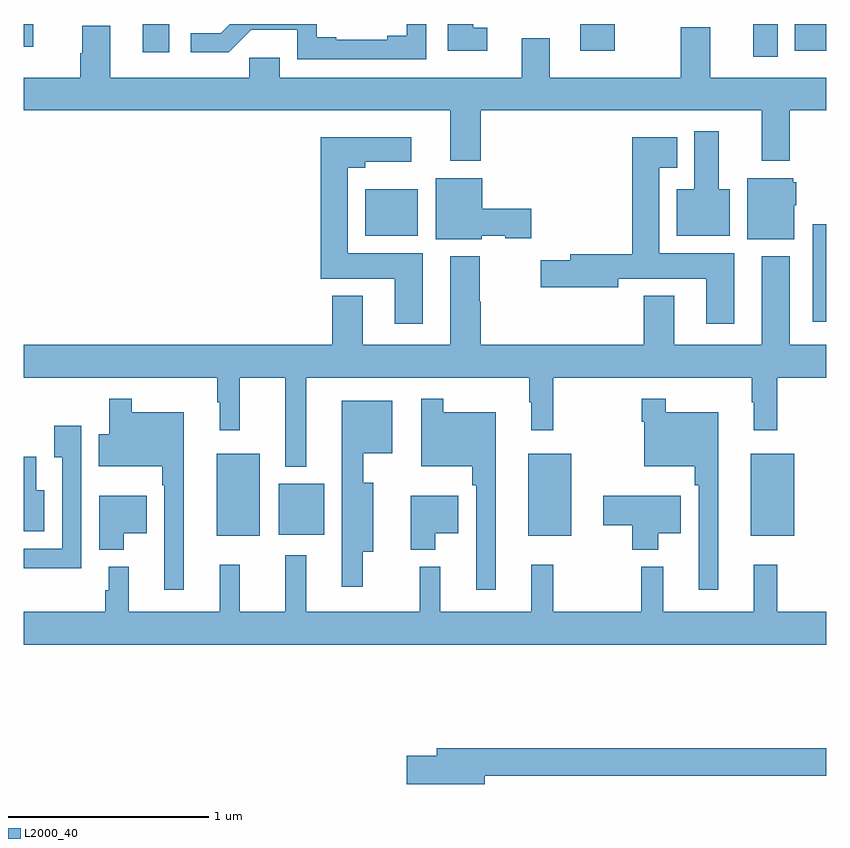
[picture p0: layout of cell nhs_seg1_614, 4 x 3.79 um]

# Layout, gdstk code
import gdstk
lib = gdstk.Library(unit=1e-6, precision=1e-09)
def R(c, l, rs):  # rectangles x0, y0, x1, y1
    for r in rs: c.add(gdstk.rectangle(r[:2], r[2:], *l))
def P(c, l, *ps):  # polygons
    for p in ps: c.add(gdstk.Polygon(p, *l))
L2000_40 = (2000, 40)

nhs_seg1_614 = lib.new_cell('nhs_seg1_614')
R(nhs_seg1_614, L2000_40, [(145.961,513.647,146.176,514.057), (147.515,513.647,147.73,514.057), (148.625,513.647,148.84,514.057), (146.27,513.653,146.497,513.907), (148.934,514.715,149,515.2), (146.702,515.144,146.965,515.374), (148.637,516.036,148.759,516.199), (145.592,516.057,145.726,516.199), (148.844,516.065,149,516.199), (147.774,516.066,147.946,516.199), (145,516.086,145.047,516.199)])
P(nhs_seg1_614, L2000_40, [(147.006,516.199),(146.909,516.199),(146.909,516.14),(146.813,516.14),(146.813,516.12),(146.557,516.12),(146.557,516.134),(146.46,516.134),(146.46,516.199),(146.026,516.199),(145.981,516.154),(145.833,516.154),(145.833,516.057),(146.022,516.057),(146.135,516.17),(146.364,516.17),(146.364,516.024),(147.006,516.024)],
  [(147.31,516.18),(147.241,516.18),(147.241,516.199),(147.113,516.199),(147.113,516.065),(147.31,516.065)],
  [(147.278,515.768),(148.679,515.768),(148.679,515.516),(148.819,515.516),(148.819,515.768),(149,515.768),(149,515.932),(148.423,515.932),(148.423,516.184),(148.276,516.184),(148.276,515.932),(147.622,515.932),(147.622,516.127),(147.482,516.127),(147.482,515.932),(146.275,515.932),(146.275,516.03),(146.124,516.03),(146.124,515.932),(145.432,515.932),(145.432,516.19),(145.292,516.19),(145.292,516.053),(145.28,516.053),(145.28,515.932),(145,515.932),(145,515.768),(147.125,515.768),(147.125,515.516),(147.278,515.516)],
  [(148.519,515.374),(148.465,515.374),(148.465,515.665),(148.343,515.665),(148.343,515.374),(148.256,515.374),(148.256,515.144),(148.519,515.144)],
  [(148.543,515.056),(148.168,515.056),(148.168,515.483),(148.258,515.483),(148.258,515.635),(148.034,515.635),(148.034,515.051),(147.725,515.051),(147.725,515.02),(147.576,515.02),(147.576,514.886),(147.964,514.886),(147.964,514.928),(148.403,514.928),(148.403,514.704),(148.543,514.704)],
  [(146.989,515.056),(146.614,515.056),(146.614,515.483),(146.701,515.483),(146.701,515.513),(146.932,515.513),(146.932,515.635),(146.48,515.635),(146.48,514.928),(146.849,514.928),(146.849,514.704),(146.989,514.704)],
  [(147.282,515.144),(147.399,515.144),(147.399,515.132),(147.529,515.132),(147.529,515.279),(147.286,515.279),(147.286,515.431),(147.053,515.431),(147.053,515.126),(147.282,515.126)],
  [(148.84,515.295),(148.852,515.295),(148.852,515.409),(148.836,515.409),(148.836,515.431),(148.607,515.431),(148.607,515.126),(148.84,515.126)],
  [(146.407,514.436),(147.519,514.436),(147.519,514.313),(147.53,514.313),(147.53,514.173),(147.64,514.173),(147.64,514.436),(148.629,514.436),(148.629,514.313),(148.64,514.313),(148.64,514.173),(148.757,514.173),(148.757,514.436),(149,514.436),(149,514.6),(148.819,514.6),(148.819,515.041),(148.679,515.041),(148.679,514.6),(148.243,514.6),(148.243,514.843),(148.091,514.843),(148.091,514.6),(147.278,514.6),(147.278,514.815),(147.273,514.815),(147.273,515.041),(147.125,515.041),(147.125,514.6),(146.689,514.6),(146.689,514.843),(146.537,514.843),(146.537,514.6),(145,514.6),(145,514.436),(145.965,514.436),(145.965,514.313),(145.976,514.313),(145.976,514.173),(146.076,514.173),(146.076,514.436),(146.303,514.436),(146.303,513.992),(146.407,513.992)],
  [(145.798,514.264),(145.537,514.264),(145.537,514.33),(145.427,514.33),(145.427,514.153),(145.374,514.153),(145.374,513.995),(145.689,513.995),(145.689,513.899),(145.701,513.899),(145.701,513.378),(145.798,513.378)],
  [(147.352,514.264),(147.091,514.264),(147.091,514.33),(146.982,514.33),(146.982,513.995),(147.235,513.995),(147.235,513.899),(147.255,513.899),(147.255,513.378),(147.352,513.378)],
  [(148.462,514.264),(148.201,514.264),(148.201,514.33),(148.08,514.33),(148.08,514.217),(148.092,514.217),(148.092,513.995),(148.345,513.995),(148.345,513.899),(148.365,513.899),(148.365,513.378),(148.462,513.378)],
  [(146.689,513.569),(146.743,513.569),(146.743,513.913),(146.692,513.913),(146.692,514.058),(146.836,514.058),(146.836,514.321),(146.585,514.321),(146.585,513.393),(146.689,513.393)],
  [(145.287,514.195),(145.151,514.195),(145.151,514.039),(145.191,514.039),(145.191,513.582),(145,513.582),(145,513.486),(145.015,513.486),(145.015,513.485),(145.287,513.485)],
  [(145.102,513.874),(145.063,513.874),(145.063,514.042),(145,514.042),(145,513.671),(145.102,513.671)],
  [(148.162,513.659),(148.276,513.659),(148.276,513.847),(147.888,513.847),(147.888,513.7),(148.033,513.7),(148.033,513.578),(148.162,513.578)],
  [(145.498,513.659),(145.612,513.659),(145.612,513.847),(145.376,513.847),(145.376,513.578),(145.498,513.578)],
  [(147.052,513.659),(147.166,513.659),(147.166,513.847),(146.93,513.847),(146.93,513.578),(147.052,513.578)],
  [(149,513.268),(148.757,513.268),(148.757,513.502),(148.64,513.502),(148.64,513.268),(148.187,513.268),(148.187,513.493),(148.077,513.493),(148.077,513.268),(147.64,513.268),(147.64,513.502),(147.53,513.502),(147.53,513.268),(147.077,513.268),(147.077,513.493),(146.974,513.493),(146.974,513.268),(146.407,513.268),(146.407,513.55),(146.303,513.55),(146.303,513.268),(146.076,513.268),(146.076,513.502),(145.976,513.502),(145.976,513.268),(145.523,513.268),(145.523,513.493),(145.424,513.493),(145.424,513.375),(145.405,513.375),(145.405,513.268),(145,513.268),(145,513.104),(149,513.104)],
  [(147.298,512.452),(149,512.452),(149,512.588),(147.059,512.588),(147.059,512.552),(146.91,512.552),(146.91,512.41),(147.298,512.41)])

lib.write_gds('nhs_seg1_614.gds')
